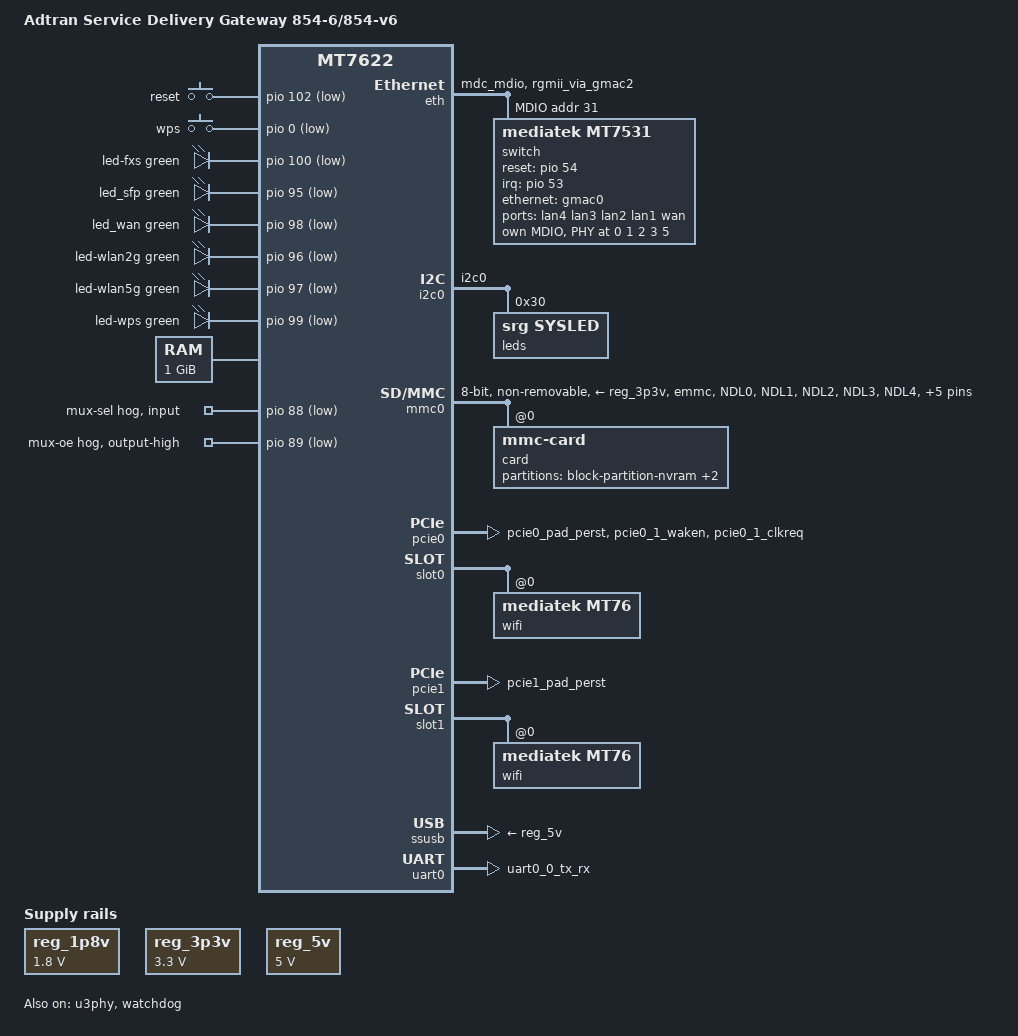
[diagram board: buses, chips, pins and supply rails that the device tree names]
// SPDX-License-Identifier: GPL-2.0-only or MIT

/dts-v1/;

#include <dt-bindings/gpio/gpio.h>
#include <dt-bindings/input/input.h>
#include <dt-bindings/leds/common.h>
#include <dt-bindings/pinctrl/mt65xx.h>

#include "mt7622.dtsi"
#include "mt6380.dtsi"

/ {
	model = "Adtran Service Delivery Gateway 854-6/854-v6";
	compatible = "adtran,sdg-854-6", "adtran,sdg-854-v6", "mediatek,mt7622";

	aliases {
		label-mac-device = &port5;
		led-boot = &led_status_blue;
		led-failsafe = &led_status_blue;
		led-running = &led_status_white;
		led-upgrade = &led_status_blue;
		serial0 = &uart0;
	};

	chosen {
		stdout-path = "serial0:115200n8";
		bootargs = "earlycon=uart8250,mmio32,0x11002000 console=ttyS0,115200n1 swiotlb=512 root=PARTLABEL=res1";
	};

	cpus {
		cpu@0 {
			proc-supply = <&mt6380_vcpu_reg>;
			sram-supply = <&mt6380_vm_reg>;
		};

		cpu@1 {
			proc-supply = <&mt6380_vcpu_reg>;
			sram-supply = <&mt6380_vm_reg>;
		};
	};

	keys {
		compatible = "gpio-keys";

		button-reset {
			label = "reset";
			gpios = <&pio 102 GPIO_ACTIVE_LOW>;
			linux,code = <KEY_RESTART>;
		};

		button-wps {
			label = "wps";
			gpios = <&pio 0 GPIO_ACTIVE_LOW>;
			linux,code = <KEY_WPS_BUTTON>;
		};
	};

	leds {
		compatible = "gpio-leds";

		led-fxs {
			color = <LED_COLOR_ID_GREEN>;
			function = "telephone";
			gpios = <&pio 100 GPIO_ACTIVE_LOW>;
		};

		led_sfp: led-sfp {
			color = <LED_COLOR_ID_GREEN>;
			function = "fiber";
			gpios = <&pio 95 GPIO_ACTIVE_LOW>;
		};

		led_wan: led-wan {
			color = <LED_COLOR_ID_GREEN>;
			function = LED_FUNCTION_WAN;
			gpios = <&pio 98 GPIO_ACTIVE_LOW>;
		};

		led-wlan2g {
			color = <LED_COLOR_ID_GREEN>;
			function = LED_FUNCTION_WLAN_2GHZ;
			gpios = <&pio 96 GPIO_ACTIVE_LOW>;
			linux,default-trigger = "phy0radio";
		};

		led-wlan5g {
			color = <LED_COLOR_ID_GREEN>;
			function = LED_FUNCTION_WLAN_5GHZ;
			gpios = <&pio 97 GPIO_ACTIVE_LOW>;
			linux,default-trigger = "phy1radio";
		};

		led-wps {
			color = <LED_COLOR_ID_GREEN>;
			function = LED_FUNCTION_WPS;
			gpios = <&pio 99 GPIO_ACTIVE_LOW>;
		};
	};

	memory@40000000 {
		reg = <0x0 0x40000000 0x0 0x40000000>;
		device_type = "memory";
	};

	reserved-memory {
		#address-cells = <2>;
		#size-cells = <2>;
		ranges;

		/delete-node/ramoops@42ff0000;

		bootdata@45000000 {
			no-map;
			reg = <0x0 0x45000000 0x0 0x00001000>;
		};

		ramoops_reserved: ramoops1@45001000 {
			no-map;
			compatible = "ramoops";
			reg = <0x0 0x45001000 0x0 0x00140000>;
			ftrace-size = <0x20000>;
			record-size = <0x20000>;
			console-size = <0x20000>;
			pmsg-size = <0x80000>;
		};
	};

	reg_1p8v: regulator-1p8v {
		compatible = "regulator-fixed";
		regulator-name = "fixed-1.8V";
		regulator-min-microvolt = <1800000>;
		regulator-max-microvolt = <1800000>;
		regulator-always-on;
	};

	reg_3p3v: regulator-3p3v {
		compatible = "regulator-fixed";
		regulator-name = "fixed-3.3V";
		regulator-min-microvolt = <3300000>;
		regulator-max-microvolt = <3300000>;
		regulator-boot-on;
		regulator-always-on;
	};

	reg_5v: regulator-5v {
		compatible = "regulator-fixed";
		regulator-name = "fixed-5V";
		regulator-min-microvolt = <5000000>;
		regulator-max-microvolt = <5000000>;
		regulator-boot-on;
		regulator-always-on;
	};
};

&eth {
	status = "okay";

	pinctrl-names = "default";
	pinctrl-0 = <&eth_pins>;

	gmac0: mac@0 {
		compatible = "mediatek,eth-mac";
		reg = <0>;
		phy-mode = "2500base-x";
		nvmem-cells = <&macaddr 0x1>;
		nvmem-cell-names = "mac-address";

		fixed-link {
			speed = <2500>;
			full-duplex;
			pause;
		};
	};

	mdio-bus {
		#address-cells = <1>;
		#size-cells = <0>;

		switch@1f {
			compatible = "mediatek,mt7531";
			reg = <31>;
			interrupt-controller;
			#interrupt-cells = <1>;
			interrupt-parent = <&pio>;
			interrupts = <53 IRQ_TYPE_LEVEL_HIGH>;
			reset-gpios = <&pio 54 GPIO_ACTIVE_HIGH>;

			mdio {
				#address-cells = <1>;
				#size-cells = <0>;

				swphy0: phy@0 {
					reg = <0>;
				};

				swphy1: phy@1 {
					reg = <1>;
				};

				swphy2: phy@2 {
					reg = <2>;
				};

				swphy3: phy@3 {
					reg = <3>;
				};

				phy5: ethernet-phy@5 {
					reg = <5>;
				};
			};

			ports {
				#address-cells = <1>;
				#size-cells = <0>;

				port@0 {
					reg = <0>;
					label = "lan4";
					phy-handle = <&swphy0>;
				};

				port@1 {
					reg = <1>;
					label = "lan3";
					phy-handle = <&swphy1>;
				};

				port@2 {
					reg = <2>;
					label = "lan2";
					phy-handle = <&swphy2>;
				};

				port@3 {
					reg = <3>;
					label = "lan1";
					phy-handle = <&swphy3>;
				};

				port@4 {
					status = "disabled";
				};

				port5: port@5 {
					reg = <5>;
					label = "wan";
					nvmem-cells = <&macaddr 0x0>;
					nvmem-cell-names = "mac-address";
					phy-mode = "2500base-x";
				};

				port@6 {
					reg = <6>;
					ethernet = <&gmac0>;
					phy-mode = "2500base-x";

					fixed-link {
						speed = <2500>;
						full-duplex;
						pause;
					};
				};
			};
		};
	};
};

&i2c0 {
	status = "okay";

	pinctrl-names = "default";
	pinctrl-0 = <&i2c0_pins>;

	leds@30 {
		compatible = "srg,sysled";
		reg = <0x30>;
		#address-cells = <1>;
		#size-cells = <0>;

		led@1 {
			color = <LED_COLOR_ID_RED>;
			function = LED_FUNCTION_STATUS;
			reg = <1>;
		};

		led@2 {
			color = <LED_COLOR_ID_GREEN>;
			function = LED_FUNCTION_STATUS;
			reg = <2>;
		};

		led_status_blue: led@3 {
			color = <LED_COLOR_ID_BLUE>;
			function = LED_FUNCTION_STATUS;
			reg = <3>;
		};

		led_status_white: led@4 {
			color = <LED_COLOR_ID_WHITE>;
			function = LED_FUNCTION_STATUS;
			reg = <4>;
		};
	};
};

&mmc0 {
	status = "okay";

	pinctrl-names = "default", "state_uhs";
	pinctrl-0 = <&emmc_default_pins>;
	pinctrl-1 = <&emmc_uhs_pins>;
	bus-width = <8>;
	max-frequency = <50000000>;
	cap-mmc-highspeed;
	mmc-hs200-1_8v;
	vmmc-supply = <&reg_3p3v>;
	vqmmc-supply = <&reg_1p8v>;
	assigned-clocks = <&topckgen CLK_TOP_MSDC30_0_SEL>;
	assigned-clock-parents = <&topckgen CLK_TOP_UNIV48M>;
	non-removable;
	#address-cells = <1>;
	#size-cells = <0>;

	card@0 {
		compatible = "mmc-card";
		reg = <0>;

		block {
			partitions {
				block-partition-nvram {
					partnum = <3>;
					partname = "nvram";

					nvmem-layout {
						compatible = "u-boot,env";
					};
				};

				block-partition-rf {
					partnum = <4>;
					partname = "rf";

					nvmem-layout {
						compatible = "fixed-layout";
						#address-cells = <1>;
						#size-cells = <1>;

						eeprom0: eeprom@0 {
							reg = <0x0 0xe00>;
						};

						eeprom1: eeprom@5000 {
							reg = <0x5000 0xe00>;
						};
					};
				};

				block-partition-mfginfo {
					partnum = <7>;
					partname = "mfginfo";

					nvmem-layout {
						compatible = "adtran,mfginfo";

						macaddr: mfg-mac {
							#nvmem-cell-cells = <1>;
						};
					};
				};
			};
		};
	};
};

&pcie0 {
	status = "okay";

	pinctrl-names = "default";
	pinctrl-0 = <&pcie0_pins>;
};

&slot0 {
	wifi@0,0 {
		compatible = "mediatek,mt76";
		reg = <0x0000 0 0 0 0>;
		nvmem-cells = <&eeprom0>, <&macaddr 0x4>;
		nvmem-cell-names = "eeprom", "mac-address";
		ieee80211-freq-limit = <2400000 2500000>;
	};
};

&pcie1 {
	status = "okay";

	pinctrl-names = "default";
	pinctrl-0 = <&pcie1_pins>;
};

&slot1 {
	wifi@0,0 {
		compatible = "mediatek,mt76";
		reg = <0x0000 0 0 0 0>;
		nvmem-cells = <&eeprom1>, <&macaddr 0xa>;
		nvmem-cell-names = "eeprom", "mac-address";
		ieee80211-freq-limit = <5170000 5835000>;
	};
};

&pio {
	mux_sel: auxin1-hog {
		gpio-hog;
		gpios = <88 GPIO_ACTIVE_LOW>;
		line-name = "mux-sel";
	};

	auxin2-hog {
		gpio-hog;
		gpios = <89 GPIO_ACTIVE_LOW>;
		output-high;
		line-name = "mux-oe";
	};

	emmc_default_pins: emmc-default-pins {
		mux {
			function = "emmc", "emmc_rst";
			groups = "emmc";
		};

		conf-cmd-dat {
			pins = "NDL0", "NDL1", "NDL2",
			       "NDL3", "NDL4", "NDL5",
			       "NDL6", "NDL7", "NRB";
			input-enable;
			bias-pull-up;
		};

		conf-clk {
			pins = "NCLE";
			bias-pull-down;
		};
	};

	emmc_uhs_pins: emmc-uhs-pins {
		mux {
			function = "emmc";
			groups = "emmc";
		};

		conf-cmd-dat {
			pins = "NDL0", "NDL1", "NDL2",
			       "NDL3", "NDL4", "NDL5",
			       "NDL6", "NDL7", "NRB";
			input-enable;
			drive-strength = <MTK_DRIVE_4mA>;
			bias-pull-up;
		};

		conf-clk {
			pins = "NCLE";
			drive-strength = <MTK_DRIVE_4mA>;
			bias-pull-down;
		};
	};

	eth_pins: eth-pins {
		mux {
			function = "eth";
			groups = "mdc_mdio", "rgmii_via_gmac2";
		};
	};

	i2c0_pins: i2c0-pins {
		mux {
			function = "i2c";
			groups =  "i2c0";
		};
	};

	pcie0_pins: pcie0-pins {
		mux {
			function = "pcie";
			groups = "pcie0_pad_perst",
				 "pcie0_1_waken",
				 "pcie0_1_clkreq";
		};
	};

	pcie1_pins: pcie1-pins {
		mux {
			function = "pcie";
			groups = "pcie1_pad_perst";
		};
	};

	pmic_bus_pins: pmic-bus-pins {
		mux {
			function = "pmic";
			groups = "pmic_bus";
		};
	};

	uart0_pins: uart0-pins {
		mux {
			function = "uart";
			groups = "uart0_0_tx_rx" ;
		};
	};

	watchdog_pins: watchdog-pins {
		mux {
			function = "watchdog";
			groups = "watchdog";
		};
	};
};

&pwrap {
	status = "okay";

	pinctrl-names = "default";
	pinctrl-0 = <&pmic_bus_pins>;
};

&ssusb {
	status = "okay";

	vusb33-supply = <&reg_3p3v>;
	vbus-supply = <&reg_5v>;
};

&u3phy {
	status = "okay";
};

&uart0 {
	status = "okay";

	pinctrl-names = "default";
	pinctrl-0 = <&uart0_pins>;
};

&watchdog {
	status = "okay";

	pinctrl-names = "default";
	pinctrl-0 = <&watchdog_pins>;
};
